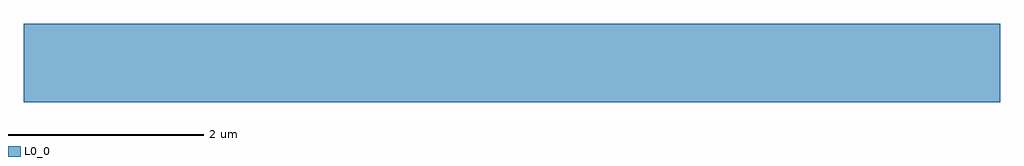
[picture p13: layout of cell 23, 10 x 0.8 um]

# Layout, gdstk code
import gdstk
lib = gdstk.Library(unit=1e-6, precision=1e-09)
def P(c, l, *ps):  # polygons
    for p in ps: c.add(gdstk.Polygon(p, *l))
L0_0 = (0, 0)

c_23 = lib.new_cell('23')
P(c_23, L0_0, [(1210,753.92),(1208.585,753.92),(1208.585,754.72),(1210,754.72),(1210,753.92)],
  [(1201.2,754.72),(1201.2,753.92),(1200.54,753.92),(1200.54,754.72),(1201.2,754.72)],
  [(1200,754.72),(1201.2,754.72),(1201.2,753.92),(1200,753.92),(1200,754.72)],
  [(1200.54,754.72),(1201.2,754.72),(1201.2,753.92),(1200.54,753.92),(1200.54,754.72)],
  [(1210,753.92),(1200.8,753.92),(1200.8,754.72),(1210,754.72),(1210,753.92)],
  [(1200,754.72),(1200.54,754.72),(1200.54,753.92),(1200,753.92),(1200,754.72)],
  [(1200,754.72),(1200.54,754.72),(1200.54,753.92),(1200,753.92),(1200,754.72)],
  [(1210,753.92),(1208.585,753.92),(1208.585,754.72),(1210,754.72),(1210,753.92)],
  [(1201.2,754.72),(1201.2,753.92),(1200.54,753.92),(1200.54,754.72),(1201.2,754.72)],
  [(1200.54,754.72),(1201.2,754.72),(1201.2,753.92),(1200.54,753.92),(1200.54,754.72)],
  [(1210,753.92),(1200.8,753.92),(1200.8,754.72),(1210,754.72),(1210,753.92)],
  [(1200,754.72),(1200.54,754.72),(1200.54,753.92),(1200,753.92),(1200,754.72)],
  [(1200,754.72),(1200.54,754.72),(1200.54,753.92),(1200,753.92),(1200,754.72)],
  [(1210,753.92),(1208.585,753.92),(1208.585,754.72),(1210,754.72),(1210,753.92)],
  [(1210,753.92),(1208.585,753.92),(1208.585,754.72),(1210,754.72),(1210,753.92)],
  [(1210,753.92),(1208.585,753.92),(1208.585,754.72),(1210,754.72),(1210,753.92)],
  [(1210,753.92),(1208.585,753.92),(1208.585,754.72),(1210,754.72),(1210,753.92)])

lib.write_gds('23.gds')
